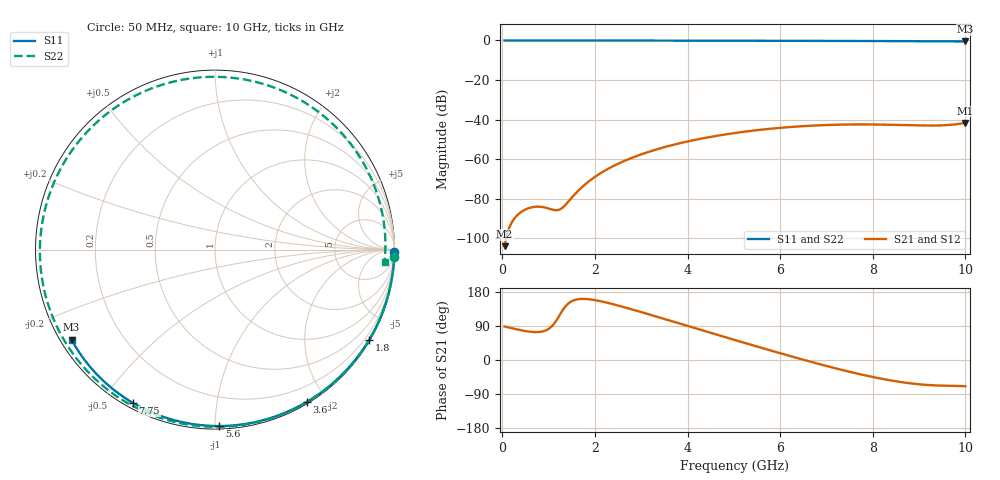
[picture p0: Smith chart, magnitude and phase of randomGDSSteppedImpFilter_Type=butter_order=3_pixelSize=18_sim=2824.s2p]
! freq	dB(S11)	phase(S11)	dB(S12)	phase(S12)
!  dB(S21)	phase(S21)	dB(S22)	phase(S22)
!S-par simulation data
#  GHz  S  DB  R 50
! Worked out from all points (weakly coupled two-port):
!   200 points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, 50 MHz to 10 GHz, reference 50 ohm
!   highest |S21| = -41.66 dB at 10 GHz (marker M1); lowest = -104.0 dB at 50 MHz (marker M2)
!   lowest |S11| = -0.5 dB at 10 GHz (marker M3), VSWR 34.51, Z = 1.57 - j14.4 ohm
!   |S11| at or under -10 dB: nowhere
!   |S22| runs from -0.5 to 0.0 dB; largest |S21 - S12| = 0
!   S11 on the Smith chart (normalised r, x): 50 MHz: open; 1.8 GHz: 0.03, -3.70; 3.6 GHz: 0.02, -1.77; 5.6 GHz: 0.02, -1.02; 7.75 GHz: 0.02, -0.60; 10 GHz: 0.03, -0.29
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0.05  -0.00 -0.9  -104.00 88.5  -104.00 88.5  -0.00 -2.3
0.35  -0.01 -6.0  -87.78 79.9  -87.78 79.9  -0.02 -15.7
0.7  -0.02 -11.9  -84.12 73.7  -84.12 73.7  -0.04 -31.2
1.1  -0.02 -18.6  -85.65 93.1  -85.65 93.1  -0.06 -48.5
1.45  -0.03 -24.5  -80.82 151.4  -80.82 151.4  -0.08 -63.2
1.75  -0.04 -29.4  -73.54 161.3  -73.54 161.3  -0.09 -75.4
1.8  -0.04 -30.2  -72.53 161.0  -72.53 161.0  -0.09 -77.4
2.1  -0.05 -35.2  -67.43 155.7  -67.43 155.7  -0.11 -89.1
2.45  -0.05 -40.8  -62.89 145.4  -62.89 145.4  -0.12 -102.4
2.9  -0.06 -48.0  -58.43 130.0  -58.43 130.0  -0.14 -118.8
3.4  -0.07 -55.9  -54.60 112.0  -54.60 112.0  -0.16 -136.3
3.6  -0.08 -59.0  -53.32 104.7  -53.32 104.7  -0.16 -143.1
4.35  -0.10 -70.4  -49.39 77.1  -49.39 77.1  -0.20 -168.1
5.05  -0.12 -80.7  -46.70 51.7  -46.70 51.7  -0.23 168.9
5.6  -0.15 -88.7  -45.09 32.0  -45.09 32.0  -0.26 150.8
6.15  -0.17 -96.4  -43.88 12.7  -43.88 12.7  -0.28 132.3
6.7  -0.20 -104.0  -43.05 -6.0  -43.05 -6.0  -0.31 113.4
7.25  -0.24 -111.4  -42.58 -23.6  -42.58 -23.6  -0.33 94.0
7.75  -0.27 -118.1  -42.46 -38.2  -42.46 -38.2  -0.34 76.1
8.35  -0.33 -126.1  -42.62 -53.1  -42.62 -53.1  -0.36 54.3
9.2  -0.41 -137.3  -43.03 -66.1  -43.03 -66.1  -0.39 23.7
10  -0.50 -147.9  -41.66 -69.2  -41.66 -69.2  -0.47 -4.0
